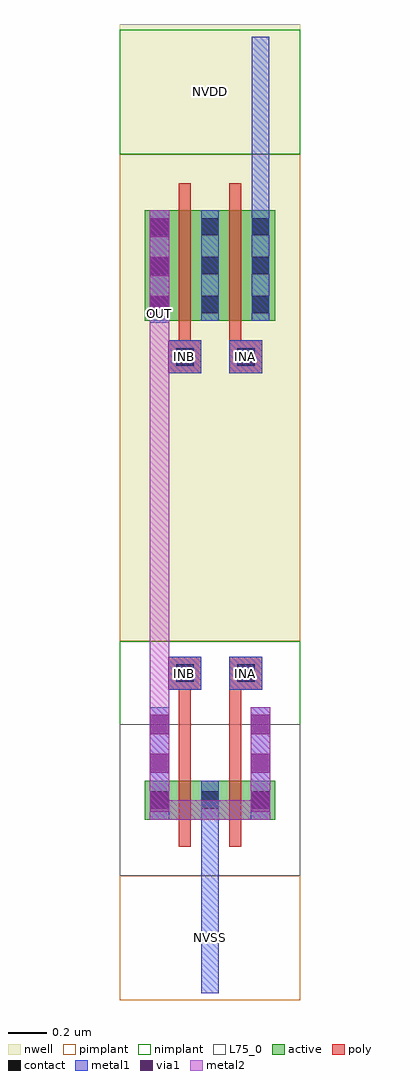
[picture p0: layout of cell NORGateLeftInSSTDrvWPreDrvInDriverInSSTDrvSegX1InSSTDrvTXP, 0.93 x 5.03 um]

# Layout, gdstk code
import gdstk
lib = gdstk.Library(unit=1e-6, precision=1e-09)
def R(c, l, rs):  # rectangles x0, y0, x1, y1
    for r in rs: c.add(gdstk.rectangle(r[:2], r[2:], *l))
def A(c, l, x, y, w, h, nx, ny, dx, dy):  # array of equal rectangles
    R(c, l, [(x+i*dx, y+j*dy, x+i*dx+w, y+j*dy+h) for i in range(nx) for j in range(ny)])
nwell = (3, 0)
active = (6, 0)
poly = (17, 0)
pimplant = (25, 0)
nimplant = (26, 0)
contact = (30, 0)
metal1 = (31, 0)
metal2 = (32, 0)
via1 = (51, 0)
L75_0 = (75, 0)

pmosinnorgateleftinsstdr = lib.new_cell('PMOSInNORGateLeftInSSTDrvWPreDrvInDriverInSSTDrvSegX1InSSTDrvTXP')
R(pmosinnorgateleftinsstdr, active, [(-0.335,-0.285,0.335,0.285)])
R(pmosinnorgateleftinsstdr, poly, [(-0.16,-0.425,-0.1,0.425), (0.1,-0.425,0.16,0.425)])
R(pmosinnorgateleftinsstdr, pimplant, [(-0.465,-0.575,0.465,0.575)])
A(pmosinnorgateleftinsstdr, contact, -0.305, -0.245, 0.09, 0.09, 3, 3, 0.26, 0.2)
A(pmosinnorgateleftinsstdr, metal1, -0.305, -0.285, 0.09, 0.57, 3, 1, 0.26, 0)

nmosinnorgateleftinsstdr = lib.new_cell('NMOSInNORGateLeftInSSTDrvWPreDrvInDriverInSSTDrvSegX1InSSTDrvTXP')
R(nmosinnorgateleftinsstdr, active, [(-0.335,-0.1,0.335,0.1)])
R(nmosinnorgateleftinsstdr, poly, [(-0.16,-0.24,-0.1,0.24), (0.1,-0.24,0.16,0.24)])
R(nmosinnorgateleftinsstdr, nimplant, [(-0.465,-0.39,0.465,0.39)])
A(nmosinnorgateleftinsstdr, contact, -0.305, -0.045, 0.09, 0.09, 3, 1, 0.26, 0)
A(nmosinnorgateleftinsstdr, metal1, -0.305, -0.1, 0.09, 0.2, 3, 1, 0.26, 0)
R(nmosinnorgateleftinsstdr, L75_0, [(-0.465,-0.39,0.465,0.39)])

m2_m1_cdns_565693715655 = lib.new_cell('M2_M1_CDNS_565693715655')
R(m2_m1_cdns_565693715655, metal1, [(-0.05,-0.29,0.05,0.29)])
R(m2_m1_cdns_565693715655, metal2, [(-0.05,-0.29,0.05,0.29)])
A(m2_m1_cdns_565693715655, via1, -0.05, -0.25, 0.1, 0.1, 1, 3, 0, 0.2)

m1_po_cdns_565693715656 = lib.new_cell('M1_PO_CDNS_565693715656')
R(m1_po_cdns_565693715656, poly, [(-0.085,-0.085,0.085,0.085)])
R(m1_po_cdns_565693715656, contact, [(-0.045,-0.045,0.045,0.045)])
R(m1_po_cdns_565693715656, metal1, [(-0.085,-0.085,0.085,0.085)])

norgateleftinsstdrvwpred = lib.new_cell('NORGateLeftInSSTDrvWPreDrvInDriverInSSTDrvSegX1InSSTDrvTXP')
R(norgateleftinsstdrvwpred, nwell, [(-0.465,1.53,0.465,4.71)])
R(norgateleftinsstdrvwpred, poly, [(-0.215,1.28,-0.045,1.45), (0.1,1.28,0.27,1.45), (-0.215,2.91,-0.045,3.08), (0.1,2.91,0.27,3.08)])
R(norgateleftinsstdrvwpred, pimplant, [(-0.465,-0.32,0.465,0.32), (-0.465,1.53,0.465,4.04)])
R(norgateleftinsstdrvwpred, nimplant, [(-0.465,0.32,0.465,1.53), (-0.465,4.04,0.465,4.68)])
R(norgateleftinsstdrvwpred, metal1, [(-0.31,0.61,-0.21,1.19), (0.21,0.61,0.31,1.19), (-0.31,3.18,-0.21,3.75)])
norgateleftinsstdrvwpred.add(gdstk.FlexPath([(0,-0.285),(0,0.81)], 0.09, ends="flush", simple_path=True, layer=31, datatype=0))  # metal1
norgateleftinsstdrvwpred.add(gdstk.FlexPath([(0.26,4.645),(0.26,3.18)], 0.09, ends="flush", simple_path=True, layer=31, datatype=0))  # metal1
norgateleftinsstdrvwpred.add(gdstk.FlexPath([(-0.31,3.22),(-0.21,3.22)], 0.1, ends="flush", simple_path=True, layer=32, datatype=0))  # metal2
norgateleftinsstdrvwpred.add(gdstk.FlexPath([(-0.26,0.61),(-0.26,3.17)], 0.1, ends="flush", simple_path=True, layer=32, datatype=0))  # metal2
norgateleftinsstdrvwpred.add(gdstk.FlexPath([(-0.31,0.66),(0.31,0.66)], 0.1, ends="flush", simple_path=True, layer=32, datatype=0))  # metal2
norgateleftinsstdrvwpred.add(gdstk.FlexPath([(-0.13,3.465),(-0.13,2.995)], 0.06, ends="flush", simple_path=True, layer=17, datatype=0))  # poly
norgateleftinsstdrvwpred.add(gdstk.FlexPath([(0.13,0.71),(0.13,1.365)], 0.06, ends="flush", simple_path=True, layer=17, datatype=0))  # poly
norgateleftinsstdrvwpred.add(gdstk.FlexPath([(0.13,3.465),(0.13,2.995)], 0.06, ends="flush", simple_path=True, layer=17, datatype=0))  # poly
norgateleftinsstdrvwpred.add(gdstk.FlexPath([(-0.13,0.71),(-0.13,1.365)], 0.06, ends="flush", simple_path=True, layer=17, datatype=0))  # poly
norgateleftinsstdrvwpred.add(gdstk.Reference(pmosinnorgateleftinsstdr, (0,3.465)))
norgateleftinsstdrvwpred.add(gdstk.Reference(nmosinnorgateleftinsstdr, (0,0.71)))
norgateleftinsstdrvwpred.add(gdstk.Reference(m2_m1_cdns_565693715655, (-0.26,3.46)))
norgateleftinsstdrvwpred.add(gdstk.Reference(m2_m1_cdns_565693715655, (-0.26,0.9)))
norgateleftinsstdrvwpred.add(gdstk.Reference(m2_m1_cdns_565693715655, (0.26,0.9)))
norgateleftinsstdrvwpred.add(gdstk.Reference(m1_po_cdns_565693715656, (0.185,1.365)))
norgateleftinsstdrvwpred.add(gdstk.Reference(m1_po_cdns_565693715656, (-0.13,1.365)))
norgateleftinsstdrvwpred.add(gdstk.Reference(m1_po_cdns_565693715656, (-0.13,2.995)))
norgateleftinsstdrvwpred.add(gdstk.Reference(m1_po_cdns_565693715656, (0.185,2.995)))
norgateleftinsstdrvwpred.add(gdstk.Label('NVDD', (0,4.36), layer=131, texttype=0))
norgateleftinsstdrvwpred.add(gdstk.Label('INB', (-0.13,1.365), layer=131, texttype=0))
norgateleftinsstdrvwpred.add(gdstk.Label('INB', (-0.13,2.995), layer=131, texttype=0))
norgateleftinsstdrvwpred.add(gdstk.Label('INA', (0.185,1.365), layer=131, texttype=0))
norgateleftinsstdrvwpred.add(gdstk.Label('INA', (0.185,2.995), layer=131, texttype=0))
norgateleftinsstdrvwpred.add(gdstk.Label('NVSS', (0,0), layer=131, texttype=0))
norgateleftinsstdrvwpred.add(gdstk.Label('OUT', (-0.26,3.22), layer=132, texttype=0))

lib.write_gds('NORGateLeftInSSTDrvWPreDrvInDriverInSSTDrvSegX1InSSTDrvTXP.gds')
